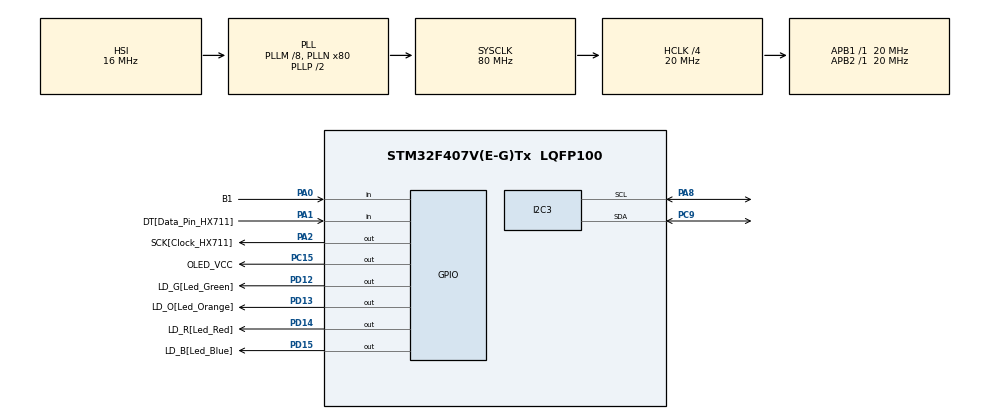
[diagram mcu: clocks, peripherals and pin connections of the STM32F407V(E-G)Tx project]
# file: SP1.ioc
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I2C3.I2C_Mode=I2C_Fast
Mcu.Family=STM32F4
Mcu.Name=STM32F407V(E-G)Tx
Mcu.Package=LQFP100
NVIC.PriorityGroup=NVIC_PRIORITYGROUP_4
PA0-WKUP.GPIO_Label=B1
PA0-WKUP.Signal=GPIO_Input
PA1.GPIO_Label=DT[Data_Pin_HX711]
PA1.GPIO_PuPd=GPIO_PULLDOWN
PA1.Signal=GPIO_Input
PA13.Mode=Serial_Wire
PA13.Signal=SYS_JTMS-SWDIO
PA14.Mode=Serial_Wire
PA14.Signal=SYS_JTCK-SWCLK
PA2.GPIO_Label=SCK[Clock_HX711]
PA2.Signal=GPIO_Output
PA8.Mode=I2C
PA8.Signal=I2C3_SCL
PC15-OSC32_OUT.GPIO_Label=OLED_VCC
PC15-OSC32_OUT.Signal=GPIO_Output
PC9.Mode=I2C
PC9.Signal=I2C3_SDA
PD12.GPIO_Label=LD_G[Led_Green]
PD12.Signal=GPIO_Output
PD13.GPIO_Label=LD_O[Led_Orange]
PD13.Signal=GPIO_Output
PD14.GPIO_Label=LD_R[Led_Red]
PD14.Signal=GPIO_Output
PD15.GPIO_Label=LD_B[Led_Blue]
PD15.Signal=GPIO_Output
PH0-OSC_IN.Mode=HSE-External-Oscillator
PH0-OSC_IN.Signal=RCC_OSC_IN
PH1-OSC_OUT.Mode=HSE-External-Oscillator
PH1-OSC_OUT.Signal=RCC_OSC_OUT
ProjectManager.HeapSize=0x200
ProjectManager.StackSize=0x400
ProjectManager.TargetToolchain=STM32CubeIDE
RCC.48MHZClocksFreq_Value=40000000
RCC.AHBCLKDivider=RCC_SYSCLK_DIV4
RCC.AHBFreq_Value=20000000
RCC.APB1Freq_Value=20000000
RCC.APB1TimFreq_Value=20000000
RCC.APB2Freq_Value=20000000
RCC.APB2TimFreq_Value=20000000
RCC.CortexFreq_Value=20000000
RCC.HCLKFreq_Value=20000000
RCC.HSE_VALUE=25000000
RCC.HSI_VALUE=16000000
RCC.LSE_VALUE=32768
RCC.PLLM=8
RCC.PLLN=80
RCC.SYSCLKFreq_VALUE=80000000
RCC.SYSCLKSource=RCC_SYSCLKSOURCE_PLLCLK
RCC.VCOOutputFreq_Value=160000000
board=custom

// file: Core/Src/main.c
/* USER CODE BEGIN Header */
/**
 ******************************************************************************
 * @file           : main.c
 * @brief          : Main program body
 ******************************************************************************
 * @attention
 *
 * <h2><center>&copy; Copyright (c) 2021 STMicroelectronics.
 * All rights reserved.</center></h2>
 *
 * This software component is licensed by ST under BSD 3-Clause license,
 * the "License"; You may not use this file except in compliance with the
 * License. You may obtain a copy of the License at:
 *                        opensource.org/licenses/BSD-3-Clause
 *
 ******************************************************************************
 */
/* USER CODE END Header */
#include "main.h"

/* USER CODE BEGIN Includes */
#include "leds.h"

#include <stdio.h>
#include "Logo.h"
#include "ssd1306.h"
#include "hx711.h"
/* USER CODE END Includes */

I2C_HandleTypeDef hi2c3;

void SystemClock_Config(void);
static void MX_GPIO_Init(void);
static void MX_I2C3_Init(void);

int main(void) {

	/* MCU Configuration--------------------------------------------------------*/

	/* Reset of all peripherals, Initializes the Flash interface and the Systick. */
	HAL_Init();

	/* Configure the system clock */
	SystemClock_Config();

	/* Initialize all configured peripherals */
	MX_GPIO_Init();
	MX_I2C3_Init();
	/* USER CODE BEGIN 2 */
	HAL_GPIO_WritePin(OLED_VCC_GPIO_Port, OLED_VCC_Pin, SET);

	HAL_Delay(50);

	OLED_INIT();

	HX711 HX1;
	HX1.gpioData = DT_GPIO_Port;
	HX1.pinData = DT_Pin;
	HX1.gpioSck = SCK_GPIO_Port;
	HX1.pinSck = SCK_Pin;
	HX1.offset = 0;
	HX1.gain = 1;
	HX1.currentScale = 0;

	/* USER CODE END 2 */

	/* Infinite loop */
	/* USER CODE BEGIN WHILE */

	//SSD1306_Draw_intrologo(Logo_GO_bmp);
	//SSD1306_DrawMenus(1);

	char HX_Value_Decimal[10];

	float knownWeight = 2000;
	int rawKnownWeight = 0;
	float caliFactor = 0;

	SSD1306_GotoXY(0, 0);
	SSD1306_Puts("Capturando", &Font_16x26, 1);
	SSD1306_GotoXY(0, 30);
	SSD1306_Puts("Zero", &Font_16x26, 1);
	SSD1306_UpdateScreen();

	SSD1306_Putc('.', &Font_16x26, 1);
	HAL_Delay(50);
	SSD1306_UpdateScreen();

	SSD1306_Putc('.', &Font_16x26, 1);
	HAL_Delay(50);
	SSD1306_UpdateScreen();

	SSD1306_Putc('.', &Font_16x26, 1);
	HAL_Delay(50);
	SSD1306_UpdateScreen();

	HX1.offset = HX711_Average_Value(HX1, 10);

	SSD1306_Clear();
	SSD1306_GotoXY(0, 0);
	SSD1306_Puts("Zero Obtido:", &Font_11x18, 1);

	sprintf(HX_Value_Decimal, "%d", HX1.offset);
	SSD1306_GotoXY(0, 30);
	SSD1306_Puts(HX_Value_Decimal, &Font_16x26, 1);
	SSD1306_UpdateScreen();

	while (!HAL_GPIO_ReadPin(B1_GPIO_Port, B1_Pin))
		;
	HAL_Delay(150);

	while (1) {
		/* USER CODE END WHILE */

		SSD1306_Clear();
		SSD1306_GotoXY(12, 0);
		SSD1306_Puts("Insira", &Font_16x26, 1);
		SSD1306_GotoXY(25, 32);
		SSD1306_Puts("2 kg", &Font_16x26, 1);

		SSD1306_UpdateScreen();

		while (!HAL_GPIO_ReadPin(B1_GPIO_Port, B1_Pin))
			;
		HAL_Delay(100);

		rawKnownWeight = HX711_Average_Value(HX1, 10);

		SSD1306_Clear();
		SSD1306_GotoXY(0, 0);
		SSD1306_Puts("Valor Obtido:", &Font_11x18, 1); //...51808

		sprintf(HX_Value_Decimal, "%d", rawKnownWeight);
		SSD1306_GotoXY(0, 30);
		SSD1306_Puts(HX_Value_Decimal, &Font_16x26, 1);
		SSD1306_UpdateScreen();

		while (!HAL_GPIO_ReadPin(B1_GPIO_Port, B1_Pin))
			;
		HAL_Delay(100);

		caliFactor = (rawKnownWeight - HX1.offset) / knownWeight;
		SSD1306_Clear();

		sprintf(HX_Value_Decimal, "%f", caliFactor);
		SSD1306_GotoXY(0, 0);
		SSD1306_Puts("califactor:", &Font_11x18, 1);

		SSD1306_GotoXY(0, 30);
		SSD1306_Puts(HX_Value_Decimal, &Font_11x18, 1);
		SSD1306_UpdateScreen();

		while (!HAL_GPIO_ReadPin(B1_GPIO_Port, B1_Pin))
			;
		HAL_Delay(100);

		SSD1306_Clear();

		while (1) {
			//SSD1306_Clear();
			HX1.currentScale =  (HX711_Average_Value(HX1, 10) - HX1.offset) / caliFactor;

			sprintf(HX_Value_Decimal, "%f", HX1.currentScale);
			SSD1306_GotoXY(0, 0);
			SSD1306_Puts("Gr:", &Font_11x18, 1);
			SSD1306_GotoXY(0, 30);
			SSD1306_Puts(HX_Value_Decimal, &Font_16x26, 1);
			SSD1306_UpdateScreen();

			/*while (!HAL_GPIO_ReadPin(B1_GPIO_Port, B1_Pin))
			 {
			 HX1 = HX711_Tare(HX1, 10);
			 }
			 */
		}

	}
}

void SystemClock_Config(void) {
	RCC_OscInitTypeDef RCC_OscInitStruct = { 0 };
	RCC_ClkInitTypeDef RCC_ClkInitStruct = { 0 };

	/** Configure the main internal regulator output voltage
	 */
	__HAL_RCC_PWR_CLK_ENABLE();
	__HAL_PWR_VOLTAGESCALING_CONFIG(PWR_REGULATOR_VOLTAGE_SCALE1);
	/** Initializes the RCC Oscillators according to the specified parameters
	 * in the RCC_OscInitTypeDef structure.
	 */
	RCC_OscInitStruct.OscillatorType = RCC_OSCILLATORTYPE_HSI;
	RCC_OscInitStruct.HSIState = RCC_HSI_ON;
	RCC_OscInitStruct.HSICalibrationValue = RCC_HSICALIBRATION_DEFAULT;
	RCC_OscInitStruct.PLL.PLLState = RCC_PLL_ON;
	RCC_OscInitStruct.PLL.PLLSource = RCC_PLLSOURCE_HSI;
	RCC_OscInitStruct.PLL.PLLM = 8;
	RCC_OscInitStruct.PLL.PLLN = 80;
	RCC_OscInitStruct.PLL.PLLP = RCC_PLLP_DIV2;
	RCC_OscInitStruct.PLL.PLLQ = 4;
	if (HAL_RCC_OscConfig(&RCC_OscInitStruct) != HAL_OK) {
		Error_Handler();
	}
	/** Initializes the CPU, AHB and APB buses clocks
	 */
	RCC_ClkInitStruct.ClockType = RCC_CLOCKTYPE_HCLK | RCC_CLOCKTYPE_SYSCLK
			| RCC_CLOCKTYPE_PCLK1 | RCC_CLOCKTYPE_PCLK2;
	RCC_ClkInitStruct.SYSCLKSource = RCC_SYSCLKSOURCE_PLLCLK;
	RCC_ClkInitStruct.AHBCLKDivider = RCC_SYSCLK_DIV4;
	RCC_ClkInitStruct.APB1CLKDivider = RCC_HCLK_DIV1;
	RCC_ClkInitStruct.APB2CLKDivider = RCC_HCLK_DIV1;

	if (HAL_RCC_ClockConfig(&RCC_ClkInitStruct, FLASH_LATENCY_0) != HAL_OK) {
		Error_Handler();
	}
}

static void MX_I2C3_Init(void) {

	hi2c3.Instance = I2C3;
	hi2c3.Init.ClockSpeed = 400000;
	hi2c3.Init.DutyCycle = I2C_DUTYCYCLE_2;
	hi2c3.Init.OwnAddress1 = 0;
	hi2c3.Init.AddressingMode = I2C_ADDRESSINGMODE_7BIT;
	hi2c3.Init.DualAddressMode = I2C_DUALADDRESS_DISABLE;
	hi2c3.Init.OwnAddress2 = 0;
	hi2c3.Init.GeneralCallMode = I2C_GENERALCALL_DISABLE;
	hi2c3.Init.NoStretchMode = I2C_NOSTRETCH_DISABLE;
	if (HAL_I2C_Init(&hi2c3) != HAL_OK) {
		Error_Handler();
	}

}

static void MX_GPIO_Init(void) {
	GPIO_InitTypeDef GPIO_InitStruct = { 0 };

	/* GPIO Ports Clock Enable */
	__HAL_RCC_GPIOC_CLK_ENABLE();
	__HAL_RCC_GPIOH_CLK_ENABLE();
	__HAL_RCC_GPIOA_CLK_ENABLE();
	__HAL_RCC_GPIOD_CLK_ENABLE();

	/*Configure GPIO pin Output Level */
	HAL_GPIO_WritePin(OLED_VCC_GPIO_Port, OLED_VCC_Pin, GPIO_PIN_RESET);

	/*Configure GPIO pin Output Level */
	HAL_GPIO_WritePin(SCK_GPIO_Port, SCK_Pin, GPIO_PIN_RESET);

	/*Configure GPIO pin Output Level */
	HAL_GPIO_WritePin(GPIOD, LD_G_Pin | LD_O_Pin | LD_R_Pin | LD_B_Pin,
			GPIO_PIN_RESET);

	/*Configure GPIO pin : OLED_VCC_Pin */
	GPIO_InitStruct.Pin = OLED_VCC_Pin;
	GPIO_InitStruct.Mode = GPIO_MODE_OUTPUT_PP;
	GPIO_InitStruct.Pull = GPIO_NOPULL;
	GPIO_InitStruct.Speed = GPIO_SPEED_FREQ_LOW;
	HAL_GPIO_Init(OLED_VCC_GPIO_Port, &GPIO_InitStruct);

	/*Configure GPIO pin : B1_Pin */
	GPIO_InitStruct.Pin = B1_Pin;
	GPIO_InitStruct.Mode = GPIO_MODE_INPUT;
	GPIO_InitStruct.Pull = GPIO_NOPULL;
	HAL_GPIO_Init(B1_GPIO_Port, &GPIO_InitStruct);

	/*Configure GPIO pin : DT_Pin */
	GPIO_InitStruct.Pin = DT_Pin;
	GPIO_InitStruct.Mode = GPIO_MODE_INPUT;
	GPIO_InitStruct.Pull = GPIO_PULLDOWN;
	HAL_GPIO_Init(DT_GPIO_Port, &GPIO_InitStruct);

	/*Configure GPIO pin : SCK_Pin */
	GPIO_InitStruct.Pin = SCK_Pin;
	GPIO_InitStruct.Mode = GPIO_MODE_OUTPUT_PP;
	GPIO_InitStruct.Pull = GPIO_NOPULL;
	GPIO_InitStruct.Speed = GPIO_SPEED_FREQ_LOW;
	HAL_GPIO_Init(SCK_GPIO_Port, &GPIO_InitStruct);

	/*Configure GPIO pins : LD_G_Pin LD_O_Pin LD_R_Pin LD_B_Pin */
	GPIO_InitStruct.Pin = LD_G_Pin | LD_O_Pin | LD_R_Pin | LD_B_Pin;
	GPIO_InitStruct.Mode = GPIO_MODE_OUTPUT_PP;
	GPIO_InitStruct.Pull = GPIO_NOPULL;
	GPIO_InitStruct.Speed = GPIO_SPEED_FREQ_LOW;
	HAL_GPIO_Init(GPIOD, &GPIO_InitStruct);

}

void Error_Handler(void) {
	__disable_irq();
	while (1) {
	}
}

/************************ (C) COPYRIGHT STMicroelectronics *****END OF FILE****/
